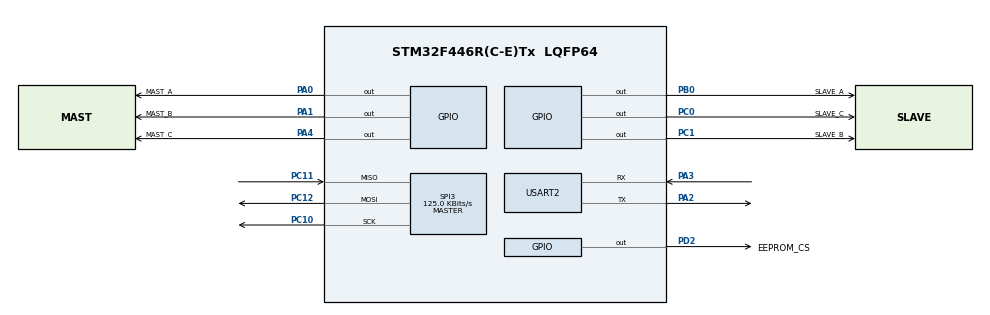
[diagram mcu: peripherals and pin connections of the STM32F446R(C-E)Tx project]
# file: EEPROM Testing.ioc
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Mcu.Family=STM32F4
Mcu.Name=STM32F446R(C-E)Tx
Mcu.Package=LQFP64
NVIC.PriorityGroup=NVIC_PRIORITYGROUP_4
PA0-WKUP.GPIO_Label=MAST_A
PA0-WKUP.Signal=GPIO_Output
PA1.GPIO_Label=MAST_B
PA1.Signal=GPIO_Output
PA2.Mode=Asynchronous
PA2.Signal=USART2_TX
PA3.Mode=Asynchronous
PA3.Signal=USART2_RX
PA4.GPIO_Label=MAST_C
PA4.Signal=GPIO_Output
PB0.GPIO_Label=SLAVE_A
PB0.Signal=GPIO_Output
PC0.GPIO_Label=SLAVE_C
PC0.Signal=GPIO_Output
PC1.GPIO_Label=SLAVE_B
PC1.Signal=GPIO_Output
PC10.Mode=Full_Duplex_Master
PC10.Signal=SPI3_SCK
PC11.Mode=Full_Duplex_Master
PC11.Signal=SPI3_MISO
PC12.Mode=Full_Duplex_Master
PC12.Signal=SPI3_MOSI
PD2.GPIO_Label=EEPROM_CS
PD2.Signal=GPIO_Output
ProjectManager.HeapSize=0x200
ProjectManager.StackSize=0x400
ProjectManager.TargetToolchain=STM32CubeIDE
RCC.CortexFreq_Value=16000000
RCC.USBFreq_Value=96000000
RCC.VCOOutputFreq_Value=192000000
SPI3.BaudRatePrescaler=SPI_BAUDRATEPRESCALER_128
SPI3.CalculateBaudRate=125.0 KBits/s
SPI3.Direction=SPI_DIRECTION_2LINES
SPI3.Mode=SPI_MODE_MASTER
SPI3.VirtualType=VM_MASTER
USART2.VirtualMode=VM_ASYNC
board=custom

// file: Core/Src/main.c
/* USER CODE BEGIN Header */
/**
  ******************************************************************************
  * @file           : main.c
  * @brief          : Main program body
  ******************************************************************************
  * @attention
  *
  * Copyright (c) 2025 STMicroelectronics.
  * All rights reserved.
  *
  * This software is licensed under terms that can be found in the LICENSE file
  * in the root directory of this software component.
  * If no LICENSE file comes with this software, it is provided AS-IS.
  *
  ******************************************************************************
  */
/* USER CODE END Header */
#include "main.h"

/* USER CODE BEGIN Includes */
//#include "spi.h"
//#include "usart.h"
//#include "gpio.h"
#include <stdio.h>
#include <stdbool.h>

/* USER CODE END Includes */

/* USER CODE BEGIN PTD */
#define EEPROM_CS_LOW()  HAL_GPIO_WritePin(GPIOD, GPIO_PIN_2, GPIO_PIN_RESET)
#define EEPROM_CS_HIGH() HAL_GPIO_WritePin(GPIOD, GPIO_PIN_2, GPIO_PIN_SET)

/* USER CODE END PTD */

SPI_HandleTypeDef hspi3;

UART_HandleTypeDef huart2;

void SystemClock_Config(void);
static void MX_GPIO_Init(void);
static void MX_SPI3_Init(void);
static void MX_USART2_UART_Init(void);
/* USER CODE BEGIN PFP */
void EEPROM_WriteEnable(void) {
    uint8_t cmd = 0x06;
    EEPROM_CS_LOW();
    HAL_Delay(100);
    HAL_SPI_Transmit(&hspi3, &cmd, 1, HAL_MAX_DELAY);
    EEPROM_CS_HIGH();
    HAL_Delay(100);

}

void EEPROM_WriteByte(uint8_t addr, uint8_t data) {
    uint8_t buf[3] = {0x02, addr, data}; // WRITE instruction
    EEPROM_CS_LOW();
    HAL_Delay(100);
    HAL_SPI_Transmit(&hspi3, buf, 3, HAL_MAX_DELAY);
    EEPROM_CS_HIGH();
    HAL_Delay(100);

}

uint8_t EEPROM_ReadByte(uint8_t addr) {
    uint8_t cmd[2] = {0x03, addr}; // READ instruction
    uint8_t data = 0;
    EEPROM_CS_LOW();
    HAL_Delay(100);
    HAL_SPI_Transmit(&hspi3, cmd, 2, HAL_MAX_DELAY);
    HAL_SPI_Receive(&hspi3, &data, 1, HAL_MAX_DELAY);
    EEPROM_CS_HIGH();
    HAL_Delay(100);
    return data;
}

uint8_t EEPROM_ReadStatus(void) {
    uint8_t cmd = 0x05;
    uint8_t status = 0;
    EEPROM_CS_LOW();
    HAL_Delay(100);
    HAL_SPI_Transmit(&hspi3, &cmd, 1, HAL_MAX_DELAY);
    HAL_SPI_Receive(&hspi3, &status, 1, HAL_MAX_DELAY);
    EEPROM_CS_HIGH();
    HAL_Delay(100);
    return status;
}

struct MuxCombo {
  unsigned char C;
  unsigned char B;
  unsigned char A;
};

const struct MuxCombo MuxCombos[] = {
	  {0, 0, 0},
	  {0, 0, 1},
	  {0, 1, 0},
	  {0, 1, 1},
	  {1, 0, 0},
	  {1, 0, 1},
	  {1, 1, 0}
	};

void muxSET(uint16_t A, uint16_t B, uint16_t C, bool control){
  if(control){
    HAL_GPIO_WritePin(MAST_A_GPIO_Port, MAST_A_Pin, A);
    HAL_GPIO_WritePin(MAST_B_GPIO_Port, MAST_B_Pin, B);
    HAL_GPIO_WritePin(MAST_C_GPIO_Port, MAST_C_Pin, C);
  }
  else{
    HAL_GPIO_WritePin(SLAVE_A_GPIO_Port, SLAVE_A_Pin, A);
    HAL_GPIO_WritePin(SLAVE_B_GPIO_Port, SLAVE_B_Pin, B);
    HAL_GPIO_WritePin(SLAVE_C_GPIO_Port, SLAVE_C_Pin, C);
  }
}

void EEPROM_Write(uint8_t addr, uint8_t writeData){
	printf("Status before write: 0x%02X \r\n", EEPROM_ReadStatus());
	EEPROM_WriteEnable();
	printf("Status after WREN: 0x%02X \r\n", EEPROM_ReadStatus());
	EEPROM_WriteByte(addr, writeData);

	// Wait until write complete
	while (EEPROM_ReadStatus() & 0x01){
		if (EEPROM_ReadStatus() == 0xFF){
			break;
		}
	}
}

/* USER CODE END PFP */

int main(void)
{

  /* MCU Configuration--------------------------------------------------------*/

  /* Reset of all peripherals, Initializes the Flash interface and the Systick. */
  HAL_Init();

  /* Configure the system clock */
  SystemClock_Config();

  /* Initialize all configured peripherals */
  MX_GPIO_Init();
  MX_SPI3_Init();
  MX_USART2_UART_Init();
  /* USER CODE BEGIN 2 */

	HAL_Delay(100);

	uint8_t addr = 0x00;
	uint8_t writeData[] = {0xCA, 0xAD, 0xCF, 0xAE, 0xBD, 0xBF, 0xFA, 0xEA};

	uint8_t A;
	uint8_t B;
	uint8_t C;
//	A = MuxCombos[0].A;
//	B = MuxCombos[0].B;
//	C = MuxCombos[0].C;
//
//	muxSET(A, B, C, 1);
//
//	EEPROM_Write(addr, writeData[0]);
//
//	printf("Completed writing to EEPROM, Data: 0x%02X\r\n", writeData[0]);
//
//	uint8_t readData = EEPROM_ReadByte(addr);
//	printf("EEPROM %d, Read back: 0x%02X\r\n", 1, readData);
//	while(1){
//		HAL_Delay(1000);
//	  EEPROM_CS_HIGH();
//	  HAL_Delay(1000);
//	  EEPROM_CS_LOW();
//	}
	while(1){
		EEPROM_Write(addr, writeData[0]);
		HAL_Delay(100);
		uint8_t readData = 0;
		readData = EEPROM_ReadByte(addr);
		printf("EEPROM %d, Read back: 0x%02X\r\n", 1, readData);
	}

	for (uint8_t j = 0; j <= 0; j++){

		A = MuxCombos[j].A;
		B = MuxCombos[j].B;
		C = MuxCombos[j].C;

		muxSET(A, B, C, 1);

		for(uint8_t i = 0; i <= 4; i++){
			EEPROM_CS_HIGH();
			A = MuxCombos[i].A;
			B = MuxCombos[i].B;
			C = MuxCombos[i].C;

			muxSET(A, B, C, 0);
			//printf("A: %d, B: %d, C: %d\n\r", A, B, C);
			HAL_Delay(10); // delay to allow muxxes to set
			//EEPROM_CS_LOW();

			EEPROM_Write(addr, writeData[i]);
			HAL_Delay(100);
			uint8_t readData = 0;
			readData = EEPROM_ReadByte(addr);
			printf("EEPROM %d, Read back: 0x%02X\r\n", i + 1, readData);

		}
	}
	printf("Completed writing to all EEPROMs\n\r");

	A = MuxCombos[0].A;
	B = MuxCombos[0].B;
	C = MuxCombos[0].C;

	muxSET(A, B, C, 0);

	int index = 0;
	while(1){
		index = index % 5;

		EEPROM_CS_HIGH(); // Deselect EEPROM before switching MUX
		HAL_Delay(10);    // Tiny delay for CS settling

		A = MuxCombos[index].A;
		B = MuxCombos[index].B;
		C = MuxCombos[index].C;

		muxSET(A, B, C, 0);

		HAL_Delay(10);

		// Optional debug:
		uint8_t status = EEPROM_ReadStatus();
		printf("EEPROM %d status: 0x%02X\r\n", index + 1, status);

		uint8_t readData2 = 0;
		readData2 = EEPROM_ReadByte(addr);
		printf("EEPROM %d, Read back: 0x%02X\r\n", index + 1, readData2);

		index += 1;

		HAL_Delay(1000);

	}
//	for(uint8_t i = 0; i <= 1; i++){
//		A = MuxCombos[i].A;
//		B = MuxCombos[i].B;
//		C = MuxCombos[i].C;
//
//		muxSET(A, B, C, 1);
//		printf("A: %d, B: %d, C: %d\n\r", A, B, C);
//		HAL_Delay(100);
//
//		uint8_t readData = EEPROM_ReadByte(addr);
//
//		//EEPROM_CS_HIGH();
//		printf("EEPROM %d, Read back: 0x%02X\r\n", i + 1, readData);
//	}

  /* USER CODE END 2 */

  /* Infinite loop */
  while (1)
  {

  }
}

void SystemClock_Config(void)
{
  RCC_OscInitTypeDef RCC_OscInitStruct = {0};
  RCC_ClkInitTypeDef RCC_ClkInitStruct = {0};

  /** Configure the main internal regulator output voltage
  */
  __HAL_RCC_PWR_CLK_ENABLE();
  __HAL_PWR_VOLTAGESCALING_CONFIG(PWR_REGULATOR_VOLTAGE_SCALE3);

  /** Initializes the RCC Oscillators according to the specified parameters
  * in the RCC_OscInitTypeDef structure.
  */
  RCC_OscInitStruct.OscillatorType = RCC_OSCILLATORTYPE_HSI;
  RCC_OscInitStruct.HSIState = RCC_HSI_ON;
  RCC_OscInitStruct.HSICalibrationValue = RCC_HSICALIBRATION_DEFAULT;
  RCC_OscInitStruct.PLL.PLLState = RCC_PLL_NONE;
  if (HAL_RCC_OscConfig(&RCC_OscInitStruct) != HAL_OK)
  {
    Error_Handler();
  }

  /** Initializes the CPU, AHB and APB buses clocks
  */
  RCC_ClkInitStruct.ClockType = RCC_CLOCKTYPE_HCLK|RCC_CLOCKTYPE_SYSCLK
                              |RCC_CLOCKTYPE_PCLK1|RCC_CLOCKTYPE_PCLK2;
  RCC_ClkInitStruct.SYSCLKSource = RCC_SYSCLKSOURCE_HSI;
  RCC_ClkInitStruct.AHBCLKDivider = RCC_SYSCLK_DIV1;
  RCC_ClkInitStruct.APB1CLKDivider = RCC_HCLK_DIV1;
  RCC_ClkInitStruct.APB2CLKDivider = RCC_HCLK_DIV1;

  if (HAL_RCC_ClockConfig(&RCC_ClkInitStruct, FLASH_LATENCY_0) != HAL_OK)
  {
    Error_Handler();
  }
}

static void MX_SPI3_Init(void)
{

  /* SPI3 parameter configuration*/
  hspi3.Instance = SPI3;
  hspi3.Init.Mode = SPI_MODE_MASTER;
  hspi3.Init.Direction = SPI_DIRECTION_2LINES;
  hspi3.Init.DataSize = SPI_DATASIZE_8BIT;
  hspi3.Init.CLKPolarity = SPI_POLARITY_LOW;
  hspi3.Init.CLKPhase = SPI_PHASE_1EDGE;
  hspi3.Init.NSS = SPI_NSS_SOFT;
  hspi3.Init.BaudRatePrescaler = SPI_BAUDRATEPRESCALER_128;
  hspi3.Init.FirstBit = SPI_FIRSTBIT_MSB;
  hspi3.Init.TIMode = SPI_TIMODE_DISABLE;
  hspi3.Init.CRCCalculation = SPI_CRCCALCULATION_DISABLE;
  hspi3.Init.CRCPolynomial = 10;
  if (HAL_SPI_Init(&hspi3) != HAL_OK)
  {
    Error_Handler();
  }

}

static void MX_USART2_UART_Init(void)
{

  huart2.Instance = USART2;
  huart2.Init.BaudRate = 115200;
  huart2.Init.WordLength = UART_WORDLENGTH_8B;
  huart2.Init.StopBits = UART_STOPBITS_1;
  huart2.Init.Parity = UART_PARITY_NONE;
  huart2.Init.Mode = UART_MODE_TX_RX;
  huart2.Init.HwFlowCtl = UART_HWCONTROL_NONE;
  huart2.Init.OverSampling = UART_OVERSAMPLING_16;
  if (HAL_UART_Init(&huart2) != HAL_OK)
  {
    Error_Handler();
  }

}

static void MX_GPIO_Init(void)
{
  GPIO_InitTypeDef GPIO_InitStruct = {0};

  /* GPIO Ports Clock Enable */
  __HAL_RCC_GPIOC_CLK_ENABLE();
  __HAL_RCC_GPIOA_CLK_ENABLE();
  __HAL_RCC_GPIOB_CLK_ENABLE();
  __HAL_RCC_GPIOD_CLK_ENABLE();

  /*Configure GPIO pin Output Level */
  HAL_GPIO_WritePin(GPIOC, SLAVE_C_Pin|SLAVE_B_Pin, GPIO_PIN_RESET);

  /*Configure GPIO pin Output Level */
  HAL_GPIO_WritePin(GPIOA, MAST_A_Pin|MAST_B_Pin|MAST_C_Pin, GPIO_PIN_RESET);

  /*Configure GPIO pin Output Level */
  HAL_GPIO_WritePin(SLAVE_A_GPIO_Port, SLAVE_A_Pin, GPIO_PIN_RESET);

  /*Configure GPIO pin Output Level */
  HAL_GPIO_WritePin(EEPROM_CS_GPIO_Port, EEPROM_CS_Pin, GPIO_PIN_RESET);

  /*Configure GPIO pins : SLAVE_C_Pin SLAVE_B_Pin */
  GPIO_InitStruct.Pin = SLAVE_C_Pin|SLAVE_B_Pin;
  GPIO_InitStruct.Mode = GPIO_MODE_OUTPUT_PP;
  GPIO_InitStruct.Pull = GPIO_NOPULL;
  GPIO_InitStruct.Speed = GPIO_SPEED_FREQ_LOW;
  HAL_GPIO_Init(GPIOC, &GPIO_InitStruct);

  /*Configure GPIO pins : MAST_A_Pin MAST_B_Pin MAST_C_Pin */
  GPIO_InitStruct.Pin = MAST_A_Pin|MAST_B_Pin|MAST_C_Pin;
  GPIO_InitStruct.Mode = GPIO_MODE_OUTPUT_PP;
  GPIO_InitStruct.Pull = GPIO_NOPULL;
  GPIO_InitStruct.Speed = GPIO_SPEED_FREQ_LOW;
  HAL_GPIO_Init(GPIOA, &GPIO_InitStruct);

  /*Configure GPIO pin : SLAVE_A_Pin */
  GPIO_InitStruct.Pin = SLAVE_A_Pin;
  GPIO_InitStruct.Mode = GPIO_MODE_OUTPUT_PP;
  GPIO_InitStruct.Pull = GPIO_NOPULL;
  GPIO_InitStruct.Speed = GPIO_SPEED_FREQ_LOW;
  HAL_GPIO_Init(SLAVE_A_GPIO_Port, &GPIO_InitStruct);

  /*Configure GPIO pin : EEPROM_CS_Pin */
  GPIO_InitStruct.Pin = EEPROM_CS_Pin;
  GPIO_InitStruct.Mode = GPIO_MODE_OUTPUT_PP;
  GPIO_InitStruct.Pull = GPIO_NOPULL;
  GPIO_InitStruct.Speed = GPIO_SPEED_FREQ_LOW;
  HAL_GPIO_Init(EEPROM_CS_GPIO_Port, &GPIO_InitStruct);

}

/* USER CODE BEGIN 4 */
int __io_putchar(int ch) {
    HAL_UART_Transmit(&huart2, (uint8_t*)&ch, 1, HAL_MAX_DELAY);
    return ch;
}

// Optional: if using `printf()` from stdio without semihosting
int _write(int file, char *ptr, int len) {
    HAL_UART_Transmit(&huart2, (uint8_t*)ptr, len, HAL_MAX_DELAY);
    return len;
}
/* USER CODE END 4 */

void Error_Handler(void)
{
  __disable_irq();
  while (1)
  {
  }
}
